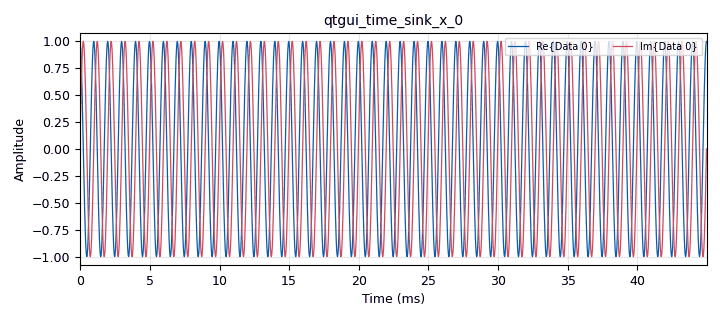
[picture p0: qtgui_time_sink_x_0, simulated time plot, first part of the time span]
<?xml version='1.0' encoding='utf-8'?>
<?grc format='1' created='3.7.9'?>
<flow_graph>
<block>
<key>options</key>
<param><key>id</key><value>detect_tag</value></param>
<param><key>category</key><value>Custom</value></param>
<param><key>generate_options</key><value>qt_gui</value></param>
</block>
<block>
<key>variable</key>
<param><key>id</key><value>samp_rate</value></param>
<param><key>value</key><value>32000</value></param>
</block>
<block>
<key>analog_sig_source_x</key>
<param><key>id</key><value>analog_sig_source_x_0</value></param>
<param><key>amp</key><value>1</value></param>
<param><key>freq</key><value>1000</value></param>
<param><key>offset</key><value>0</value></param>
<param><key>type</key><value>complex</value></param>
<param><key>samp_rate</key><value>samp_rate</value></param>
<param><key>waveform</key><value>analog.GR_COS_WAVE</value></param>
</block>
<block>
<key>blocks_add_xx</key>
<param><key>id</key><value>blocks_add_xx_0</value></param>
<param><key>type</key><value>complex</value></param>
</block>
<block>
<key>blocks_null_sink</key>
<param><key>id</key><value>blocks_null_sink_0</value></param>
<param><key>bus_conns</key><value>[[0,],]</value></param>
<param><key>type</key><value>byte</value></param>
</block>
<block>
<key>blocks_tags_strobe</key>
<param><key>id</key><value>blocks_tags_strobe_0</value></param>
<param><key>key</key><value>pmt.intern("strobe")</value></param>
<param><key>nsamps</key><value>100000</value></param>
<param><key>type</key><value>complex</value></param>
<param><key>value</key><value>pmt.intern("TEST")</value></param>
</block>
<block>
<key>blocks_throttle</key>
<param><key>id</key><value>blocks_throttle_0</value></param>
<param><key>samples_per_second</key><value>samp_rate</value></param>
<param><key>type</key><value>complex</value></param>
</block>
<block>
<key>cortexlab_test_cb</key>
<param><key>id</key><value>cortexlab_test_cb_0</value></param>
<param><key>gray_code</key><value>True</value></param>
</block>
<block>
<key>qtgui_time_sink_x</key>
<param><key>id</key><value>qtgui_time_sink_x_0</value></param>
<param><key>color1</key><value>"blue"</value></param>
<param><key>label1</key><value></value></param>
<param><key>color2</key><value>"red"</value></param>
<param><key>label2</key><value></value></param>
<param><key>size</key><value>10240</value></param>
<param><key>srate</key><value>samp_rate</value></param>
<param><key>type</key><value>complex</value></param>
</block>
<connection><source_block_id>analog_sig_source_x_0</source_block_id><sink_block_id>blocks_add_xx_0</sink_block_id><source_key>0</source_key><sink_key>0</sink_key></connection>
<connection><source_block_id>blocks_add_xx_0</source_block_id><sink_block_id>blocks_throttle_0</sink_block_id><source_key>0</source_key><sink_key>0</sink_key></connection>
<connection><source_block_id>blocks_tags_strobe_0</source_block_id><sink_block_id>blocks_add_xx_0</sink_block_id><source_key>0</source_key><sink_key>1</sink_key></connection>
<connection><source_block_id>blocks_throttle_0</source_block_id><sink_block_id>cortexlab_test_cb_0</sink_block_id><source_key>0</source_key><sink_key>0</sink_key></connection>
<connection><source_block_id>blocks_throttle_0</source_block_id><sink_block_id>qtgui_time_sink_x_0</sink_block_id><source_key>0</source_key><sink_key>0</sink_key></connection>
<connection><source_block_id>cortexlab_test_cb_0</source_block_id><sink_block_id>blocks_null_sink_0</sink_block_id><source_key>0</source_key><sink_key>0</sink_key></connection>
</flow_graph>
